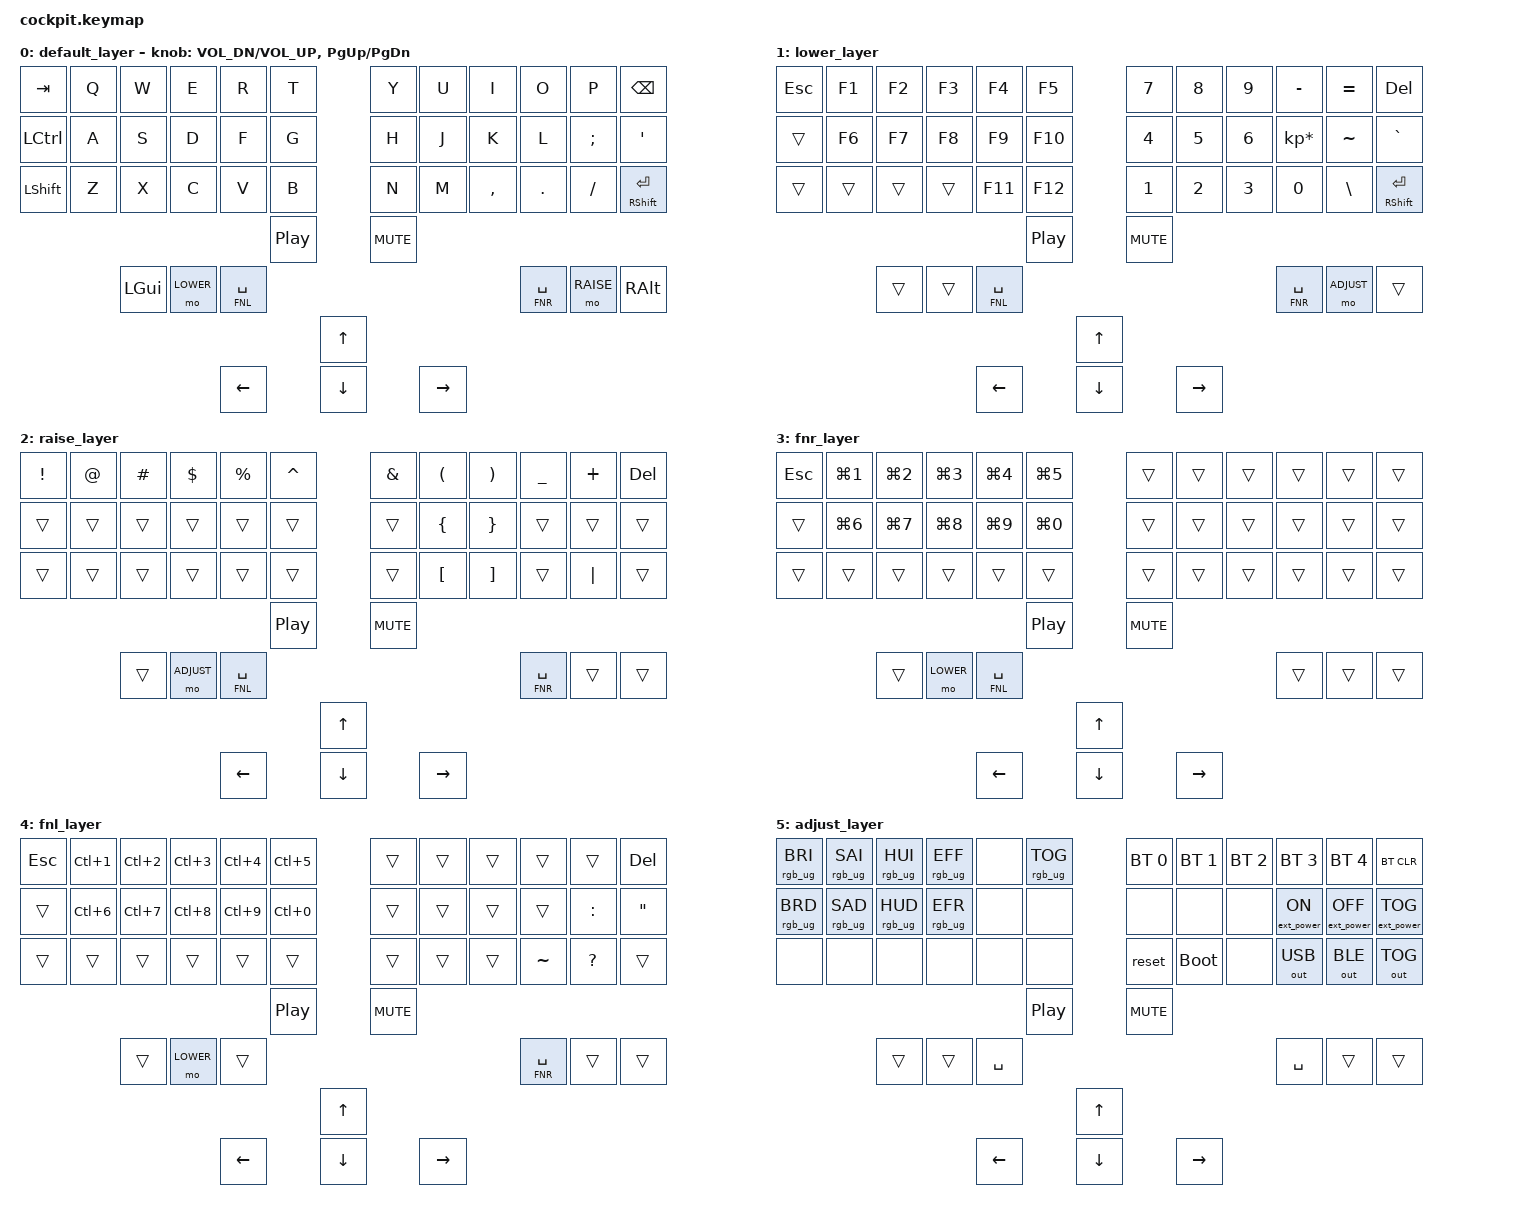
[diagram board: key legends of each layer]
/*
 * Copyright (c) 2022 ozkancelik  | github.com/ozkan
 *
 * SPDX-License-Identifier: MIT
 */

#include <behaviors.dtsi>
#include <dt-bindings/zmk/keys.h>
#include <dt-bindings/zmk/ext_power.h>
#include <dt-bindings/zmk/outputs.h>
#include <dt-bindings/zmk/bt.h>
#include <dt-bindings/zmk/rgb.h>
#include <dt-bindings/led/led.h>

#define BASE 0
#define LOWER 1
#define RAISE 2
#define FNR 3
#define FNL 4
#define ADJUST 5

&spi1 {
	compatible = "nordic,nrf-spim";
	status = "okay";
	mosi-pin = <8>;
	// Unused pins, needed for SPI definition, but not used by the ws2812 driver itself.
	sck-pin = <5>;
	miso-pin = <7>;

	led_strip: ws2812@0 {
		compatible = "worldsemi,ws2812-spi";
		label = "WS2812";

		/* SPI */
		reg = <0>; /* ignored, but necessary for SPI bindings */
		spi-max-frequency = <4000000>;

		/* WS2812 */
		chain-length = <15>; /* arbitrary; change at will */
		spi-one-frame = <0x70>;
		spi-zero-frame = <0x40>;
		color-mapping = <LED_COLOR_ID_GREEN LED_COLOR_ID_RED LED_COLOR_ID_BLUE>;
	};
};

/ {
	chosen {
		zmk,underglow = &led_strip;
	};
};

&left_encoder {
    status = "okay";
};

&right_encoder {
    status = "okay";
};

&lt {
    retro-tap;
};

/ {
        keymap {
                compatible = "zmk,keymap";

                default_layer {


// BASE
// ╭──────┬──────┬──────┬──────┬──────┬──────╮                   ╭──────┬──────┬──────┬──────┬──────┬──────╮
// │  TAB │  Q   │  W   │  E   │  R   │  T   │                   │  Y   │  U   │  I   │  O   │   P  │ BSPC │
// ├──────┼──────┼──────┼──────┼──────┼──────┤                   ├──────┼──────┼──────┼──────┼──────┼──────┤
// │ CTRL │  A   │  S   │  D   │  F   │  G   │                   │  H   │  J   │  K   │  L   │   ;  │   '  │
// ├──────┼──────┼──────┼──────┼──────┼──────┤                   ├──────┼──────┼──────┼──────┼──────┼──────┤
// │ LSFT │  Z   │  X   │    C │  V   │  B   │                   │  N   │  M   │  ,   │    . │  /   │RS-ENT│
// ╰──────┴──────┴──────┴──────┴──────┴──────┼─────────┬─────────┼──────┴──────┴──────┴──────┴──────┴──────╯
//                                           │   MPLY  │  MUTE   │
//                     ╭──────┬──────┬───────┼─────────┴─────────┼──────┬──────┬──────╮
//                     │  ALT │LOWER │  FNL  │                   │ FNR  │RAISE │ RALT │
//                     ╰──────┴──────┴───────┴─────┬──────┬──────┴──────┴──────┴──────╯
//                                                 │  UP  │
//                                          ╭──────┼──────┼──────╮
//                                          │ LEFT │ DOWN │ RIGHT│
//                                          ╰──────┴──────┴──────╯



                        bindings = <
   &kp TAB   &kp Q &kp W &kp E &kp R &kp T             &kp Y &kp U  &kp I     &kp O   &kp P    &kp BSPC
   &kp LCTRL &kp A &kp S &kp D &kp F &kp G             &kp H &kp J  &kp K     &kp L   &kp SEMI &kp SQT
   &kp LSHFT &kp Z &kp X &kp C &kp V &kp B             &kp N &kp M  &kp COMMA &kp DOT &kp FSLH &mt RSHFT RET
                                     &kp C_PLAY_PAUSE  &kp C_MUTE
                    &kp LGUI &mo LOWER &lt FNL SPACE              &lt FNR SPACE &mo RAISE  &kp RALT
                                               &kp UP_ARROW
                               &kp LEFT_ARROW  &kp DOWN_ARROW  &kp RIGHT_ARROW

                        >;
                        sensor-bindings = <&inc_dec_kp C_VOL_DN C_VOL_UP &inc_dec_kp PG_UP PG_DN>;
                };

                lower_layer {

// LOWER
// ╭──────┬──────┬──────┬──────┬──────┬──────╮                   ╭──────┬──────┬──────┬──────┬──────┬──────╮
// │  TAB │      │      │      │      │      │                   │      │      │      │      │      │ BSPC │
// ├──────┼──────┼──────┼──────┼──────┼──────┤                   ├──────┼──────┼──────┼──────┼──────┼──────┤
// │ CTRL │      │      │      │      │      │                   │      │      │      │      │      │   '  │
// ├──────┼──────┼──────┼──────┼──────┼──────┤                   ├──────┼──────┼──────┼──────┼──────┼──────┤
// │  SFT │      │      │      │      │      │                   │      │      │      │      │      │ ENT  │
// ╰──────┴──────┴──────┴──────┴──────┴──────┼─────────┬─────────┼──────┴──────┴──────┴──────┴──────┴──────╯
//                                           │   MPLY  │  MUTE   │
//                     ╭──────┬──────┬───────┼─────────┴─────────┼──────┬──────┬──────╮
//                     │  ALT │LOWER │  FNL  │                   │ FNR  │RAISE │  WIN │
//                     ╰──────┴──────┴───────┴─────┬──────┬──────┴──────┴──────┴──────╯
//                                                 │  UP  │
//                                          ╭──────┼──────┼──────╮
//                                          │ LEFT │ DOWN │ RIGHT│
//                                          ╰──────┴──────┴──────╯


                        bindings = <
   &kp ESC &kp F1 &kp F2 &kp F3 &kp F4  &kp F5                  &kp N7 &kp N8 &kp N9 &kp MINUS       &kp EQUAL &kp DEL
   &trans  &kp F6 &kp F7 &kp F8 &kp F9  &kp F10                 &kp N4 &kp N5 &kp N6 &kp KP_MULTIPLY &kp TILDE &kp GRAVE
   &trans  &trans &trans &trans &kp F11 &kp F12                 &kp N1 &kp N2 &kp N3 &kp N0          &kp BSLH  &mt RSHFT RET
                                                &kp C_PLAY_PAUSE  &kp C_MUTE
                           &trans  &trans &lt FNL SPACE              &lt FNR SPACE &mo ADJUST  &trans
                                                      &kp UP_ARROW
                                      &kp LEFT_ARROW  &kp DOWN_ARROW  &kp RIGHT_ARROW
                        >;
                };

                raise_layer {

// ╭──────┬──────┬──────┬──────┬──────┬──────╮                   ╭──────┬──────┬──────┬──────┬──────┬──────╮
// │  TAB │      │      │      │      │      │                   │      │      │      │      │      │ BSPC │
// ├──────┼──────┼──────┼──────┼──────┼──────┤                   ├──────┼──────┼──────┼──────┼──────┼──────┤
// │ CTRL │      │      │      │      │      │                   │      │      │      │      │      │   '  │
// ├──────┼──────┼──────┼──────┼──────┼──────┤                   ├──────┼──────┼──────┼──────┼──────┼──────┤
// │  SFT │      │      │      │      │      │                   │      │      │      │      │      │ ENT  │
// ╰──────┴──────┴──────┴──────┴──────┴──────┼─────────┬─────────┼──────┴──────┴──────┴──────┴──────┴──────╯
//                                           │   MPLY  │  MUTE   │
//                     ╭──────┬──────┬───────┼─────────┴─────────┼──────┬──────┬──────╮
//                     │  ALT │LOWER │  FNL  │                   │ FNR  │RAISE │  WIN │
//                     ╰──────┴──────┴───────┴─────┬──────┬──────┴──────┴──────┴──────╯
//                                                 │  UP  │
//                                          ╭──────┼──────┼──────╮
//                                          │ LEFT │ DOWN │ RIGHT│
//                                          ╰──────┴──────┴──────╯


                        bindings = <
   &kp EXCL &kp AT &kp HASH &kp DLLR &kp PRCNT &kp CARET        &kp AMPS  &kp LPAR  &kp RPAR  &kp UNDER &kp PLUS  &kp DEL
   &trans   &trans &trans   &trans   &trans    &trans           &trans    &kp LBRC  &kp RBRC  &trans    &trans    &trans
   &trans   &trans &trans   &trans   &trans    &trans           &trans    &kp LBKT  &kp RBKT  &trans    &kp PIPE  &trans
                                            &kp C_PLAY_PAUSE  &kp C_MUTE
                           &trans  &mo ADJUST &lt FNL SPACE              &lt FNR SPACE  &trans   &trans
                                                      &kp UP_ARROW
                                      &kp LEFT_ARROW  &kp DOWN_ARROW  &kp RIGHT_ARROW
                        >;
                };


                fnr_layer {

// ╭──────┬──────┬──────┬──────┬──────┬──────╮                   ╭──────┬──────┬──────┬──────┬──────┬──────╮
// │  TAB │      │      │      │      │      │                   │      │      │      │      │      │ BSPC │
// ├──────┼──────┼──────┼──────┼──────┼──────┤                   ├──────┼──────┼──────┼──────┼──────┼──────┤
// │ CTRL │      │      │      │      │      │                   │      │      │      │      │      │   '  │
// ├──────┼──────┼──────┼──────┼──────┼──────┤                   ├──────┼──────┼──────┼──────┼──────┼──────┤
// │  SFT │      │      │      │      │      │                   │      │      │      │      │      │ ENT  │
// ╰──────┴──────┴──────┴──────┴──────┴──────┼─────────┬─────────┼──────┴──────┴──────┴──────┴──────┴──────╯
//                                           │   MPLY  │  MUTE   │
//                     ╭──────┬──────┬───────┼─────────┴─────────┼──────┬──────┬──────╮
//                     │  ALT │LOWER │  FNL  │                   │ FNR  │RAISE │  WIN │
//                     ╰──────┴──────┴───────┴─────┬──────┬──────┴──────┴──────┴──────╯
//                                                 │  UP  │
//                                          ╭──────┼──────┼──────╮
//                                          │ LEFT │ DOWN │ RIGHT│
//                                          ╰──────┴──────┴──────╯


                        bindings = <
   &kp ESC &kp LG(N1) &kp LG(N2) &kp LG(N3) &kp LG(N4) &kp LG(N5)     &trans &trans &trans &trans &trans &trans
   &trans  &kp LG(N6) &kp LG(N7) &kp LG(N8) &kp LG(N9) &kp LG(N0)     &trans &trans &trans &trans &trans &trans
   &trans  &trans &trans &trans &trans &trans                    &trans &trans &trans &trans &trans &trans
                                            &kp C_PLAY_PAUSE  &kp C_MUTE
                           &trans  &mo LOWER &lt FNL SPACE              &trans  &trans   &trans
                                                      &kp UP_ARROW
                                      &kp LEFT_ARROW  &kp DOWN_ARROW  &kp RIGHT_ARROW
                        >;
                };


                fnl_layer {

// ╭──────┬──────┬──────┬──────┬──────┬──────╮                   ╭──────┬──────┬──────┬──────┬──────┬──────╮
// │  TAB │      │      │      │      │      │                   │      │      │      │      │      │ BSPC │
// ├──────┼──────┼──────┼──────┼──────┼──────┤                   ├──────┼──────┼──────┼──────┼──────┼──────┤
// │ CTRL │      │      │      │      │      │                   │      │      │      │      │      │   '  │
// ├──────┼──────┼──────┼──────┼──────┼──────┤                   ├──────┼──────┼──────┼──────┼──────┼──────┤
// │  SFT │      │      │      │      │      │                   │      │      │      │      │      │ ENT  │
// ╰──────┴──────┴──────┴──────┴──────┴──────┼─────────┬─────────┼──────┴──────┴──────┴──────┴──────┴──────╯
//                                           │   MPLY  │  MUTE   │
//                     ╭──────┬──────┬───────┼─────────┴─────────┼──────┬──────┬──────╮
//                     │  ALT │LOWER │  FNL  │                   │ FNR  │RAISE │  WIN │
//                     ╰──────┴──────┴───────┴─────┬──────┬──────┴──────┴──────┴──────╯
//                                                 │  UP  │
//                                          ╭──────┼──────┼──────╮
//                                          │ LEFT │ DOWN │ RIGHT│
//                                          ╰──────┴──────┴──────╯


                        bindings = <
   &kp ESC &kp LC(N1) &kp LC(N2) &kp LC(N3) &kp LC(N4) &kp LC(N5)     &trans &trans &trans &trans    &trans    &kp DEL
   &trans  &kp LC(N6) &kp LC(N7) &kp LC(N8) &kp LC(N9) &kp LC(N0)     &trans &trans &trans &trans    &kp COLON &kp DQT
   &trans  &trans    &trans    &trans    &trans    &trans        &trans &trans &trans &kp TILDE &kp QMARK &trans
                                            &kp C_PLAY_PAUSE  &kp C_MUTE
                           &trans  &mo LOWER &trans              &lt FNR SPACE  &trans   &trans
                                                      &kp UP_ARROW
                                      &kp LEFT_ARROW  &kp DOWN_ARROW  &kp RIGHT_ARROW
                        >;
                };

                adjust_layer {
// ADJUST
// ╭──────┬──────┬──────┬──────┬──────┬──────╮                   ╭──────┬──────┬──────┬──────┬──────┬──────╮
// | BRI+ | SAT+ | HUE+ | ANI+ |      | TOG  |                   │ bt1  | bt2  | bt3  | bt4  | bt5  |btclr │
// ├──────┼──────┼──────┼──────┼──────┼──────┤                   ├──────┼──────┼──────┼──────┼──────┼──────┤
// | BRI- | SAT- | HUE- | ANI- |      |      |                   |      |      |      |EP_ON |EP_OFF|EP_TOG|
// ├──────┼──────┼──────┼──────┼──────┼──────┤                   ├──────┼──────┼──────┼──────┼──────┼──────┤
// │      │      │      │      │      │      │                   |RESET |BOOTL |      |O_USB |O_BLE|OUT_TOG|
// ╰──────┴──────┴──────┴──────┴──────┴──────┼─────────┬─────────┼──────┴──────┴──────┴──────┴──────┴──────╯
//                                           │   MPLY  │  MUTE   │
//                     ╭──────┬──────┬───────┼─────────┴─────────┼──────┬──────┬──────╮
//                     │      │      │  SPC  │                   │ SPC  │      │      │
//                     ╰──────┴──────┴───────┴─────┬──────┬──────┴──────┴──────┴──────╯
//                                                 │  UP  │
//                                          ╭──────┼──────┼──────╮
//                                          │ LEFT │ DOWN │ RIGHT│
//                                          ╰──────┴──────┴──────╯

                        bindings = <
   &rgb_ug RGB_BRI &rgb_ug RGB_SAI &rgb_ug RGB_HUI &rgb_ug RGB_EFF &none &rgb_ug RGB_TOG            &bt BT_SEL 0 &bt BT_SEL 1  &bt BT_SEL 2 &bt BT_SEL 3       &bt BT_SEL 4        &bt BT_CLR
   &rgb_ug RGB_BRD &rgb_ug RGB_SAD &rgb_ug RGB_HUD &rgb_ug RGB_EFR &none         &none              &none        &none         &none        &ext_power EP_ON   &ext_power EP_OFF   &ext_power EP_TOG
   &none           &none           &none           &none           &none         &none              &reset       &bootloader   &none        &out OUT_USB       &out OUT_BLE        &out OUT_TOG
                                                                                &kp C_PLAY_PAUSE  &kp C_MUTE
                                                                &trans    &trans  &kp SPACE              &kp SPACE &trans  &trans
                                                                                        &kp UP_ARROW
                                                                        &kp LEFT_ARROW  &kp DOWN_ARROW  &kp RIGHT_ARROW
                        >;
                };
        };
};
